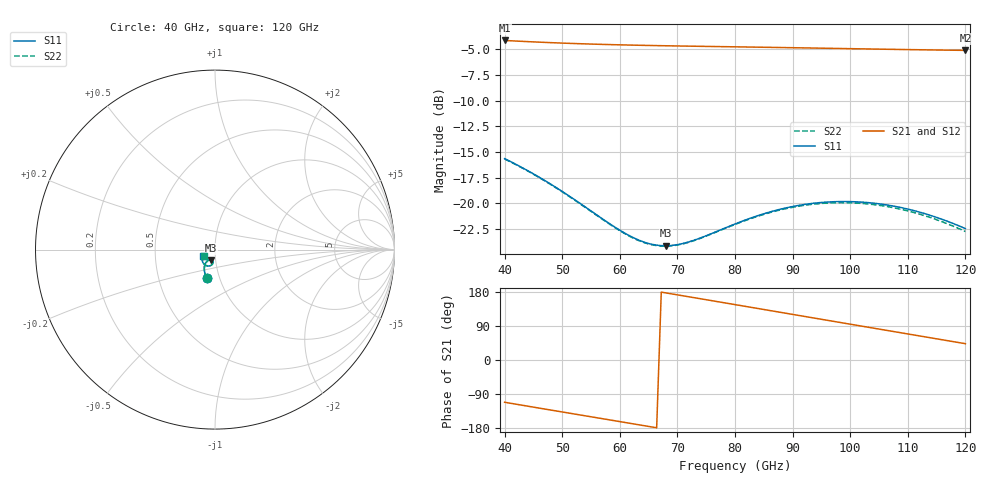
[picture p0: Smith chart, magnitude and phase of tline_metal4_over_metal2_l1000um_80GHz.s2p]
#  GHZ S DB R 50
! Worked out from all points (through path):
!   101 points, 40 GHz to 120 GHz, reference 50 ohm
!   highest |S21| = -4.13 dB at 40 GHz (marker M1); lowest = -5.1 dB at 120 GHz (marker M2)
!   group delay of S21, straight-line fit = 7.14 ps
!   lowest |S11| = -24.1 dB at 68 GHz (marker M3), VSWR 1.13, Z = 47.7 - j5.62 ohm
!   |S11| at or under -10 dB: start of sweep to end of sweep
!   |S22| runs from -24.2 to -15.7 dB; largest |S21 - S12| = 9.7e-14
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40  -15.65 -105.2  -4.13 -111.5  -4.13 -111.5  -15.67 -105.1
43.2  -16.57 -111.3  -4.22 -119.8  -4.22 -119.8  -16.60 -111.2
47.2  -17.85 -117.7  -4.33 -130.0  -4.33 -130.0  -17.89 -117.7
53.6  -20.20 -124.1  -4.46 -146.3  -4.46 -146.3  -20.24 -124.0
57.6  -21.74 -124.4  -4.53 -156.5  -4.53 -156.5  -21.79 -124.3
61.6  -23.13 -121.0  -4.58 -166.6  -4.58 -166.6  -23.18 -120.8
64.8  -23.88 -115.6  -4.62 -174.8  -4.62 -174.8  -23.93 -115.4
67.2  -24.12 -110.8  -4.64 179.1  -4.64 179.1  -24.16 -110.6
68  -24.13 -109.3  -4.65 177.0  -4.65 177.0  -24.17 -109.0
70.4  -23.98 -104.9  -4.67 170.9  -4.67 170.9  -24.02 -104.7
73.6  -23.45 -100.8  -4.70 162.7  -4.70 162.7  -23.49 -100.7
80  -22.01 -99.4  -4.75 146.2  -4.75 146.2  -22.06 -99.4
84  -21.19 -102.1  -4.79 135.9  -4.79 135.9  -21.25 -102.1
87.2  -20.67 -105.5  -4.81 127.6  -4.81 127.6  -20.73 -105.6
90.4  -20.27 -109.6  -4.84 119.3  -4.84 119.3  -20.34 -109.7
93.6  -19.99 -114.2  -4.87 111.0  -4.87 111.0  -20.08 -114.4
96.8  -19.85 -119.1  -4.90 102.8  -4.90 102.8  -19.95 -119.3
100  -19.83 -124.1  -4.93 94.5  -4.93 94.5  -19.95 -124.3
103.2  -19.93 -129.1  -4.96 86.3  -4.96 86.3  -20.07 -129.4
107.2  -20.24 -135.2  -5.00 76.0  -5.00 76.0  -20.39 -135.4
113.6  -21.11 -143.7  -5.05 59.5  -5.05 59.5  -21.32 -144.0
120  -22.46 -149.6  -5.10 43.1  -5.10 43.1  -22.74 -149.8
